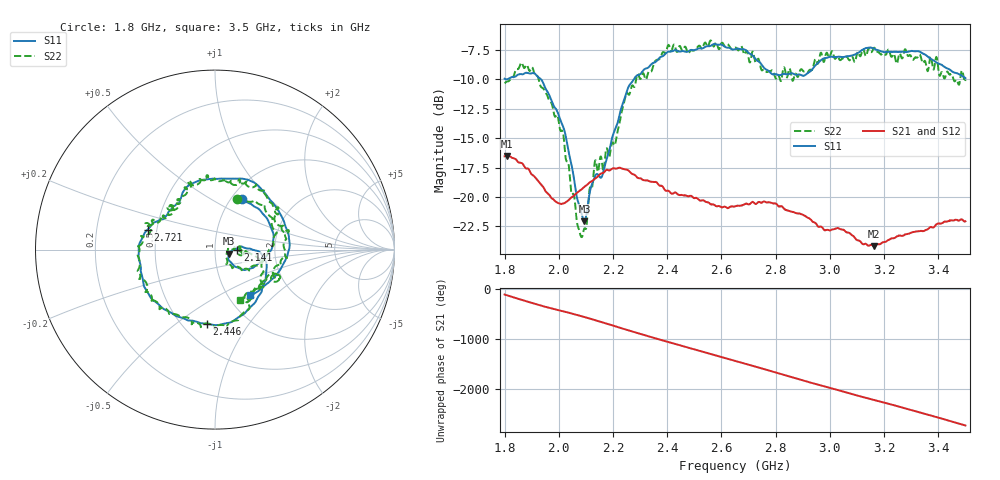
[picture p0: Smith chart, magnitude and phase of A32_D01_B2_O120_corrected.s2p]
! Created with skrf 1.9.0 (http://scikit-rf.org).
# Hz S RI R 50.0
!freq ReS11 ImS11 ReS21 ImS21 ReS12 ImS12 ReS22 ImS22
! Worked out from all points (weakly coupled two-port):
!   1601 points, 1.8 GHz to 3.5 GHz, reference 50 ohm
!   highest |S21| = -16.51 dB at 1.808 GHz (marker M1); lowest = -24.2 dB at 3.163 GHz (marker M2)
!   lowest |S11| = -22.1 dB at 2.094 GHz (marker M3), VSWR 1.17, Z = 58.1 - j2.71 ohm
!   |S11| at or under -10 dB: 1.935 GHz to 2.277 GHz (342.1 MHz wide, 16.2 % of centre)
!   |S22| runs from -23.4 to -6.7 dB; largest |S21 - S12| = 0.0029
!   S11 on the Smith chart (normalised r, x): 1.8 GHz: 1.12, +0.70; 2.141 GHz: 1.29, -0.00; 2.446 GHz: 0.65, -0.65; 2.721 GHz: 0.44, +0.12; 3.5 GHz: 1.26, -0.71
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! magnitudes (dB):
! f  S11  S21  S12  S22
! 1.8 GHz  -9.9  -16.5  -16.5  -10.3
! 1.808 GHz  -10.0  -16.5  -16.5  -10.2
! 1.881 GHz  -9.4  -17.6  -17.6  -8.8
! 1.968 GHz  -11.5  -19.9  -20.0  -11.9
! 2.013 GHz  -13.8  -20.6  -20.6  -14.4
! 2.084 GHz  -21.4  -19.4  -19.3  -23.4
! 2.094 GHz  -22.1  -19.1  -19.2  -22.7
! 2.129 GHz  -18.5  -18.5  -18.5  -17.7
! 2.141 GHz  -18.0  -18.3  -18.3  -17.6
! 2.161 GHz  -18.1  -18.0  -17.9  -17.4
! 2.208 GHz  -14.2  -17.6  -17.6  -15.5
! 2.26 GHz  -10.5  -17.8  -17.8  -11.3
! 2.367 GHz  -8.3  -18.9  -18.9  -8.3
! 2.446 GHz  -7.6  -19.8  -19.8  -7.1
! 2.65 GHz  -7.4  -20.8  -20.8  -7.3
! 2.721 GHz  -8.1  -20.5  -20.5  -8.1
! 2.814 GHz  -9.6  -20.8  -20.7  -9.8
! 2.934 GHz  -9.2  -22.0  -22.0  -9.2
! 3.163 GHz  -7.4  -24.2  -24.2  -7.3
! 3.217 GHz  -7.7  -23.7  -23.6  -7.5
! 3.329 GHz  -7.6  -22.9  -22.9  -7.9
! 3.5 GHz  -9.9  -22.1  -22.1  -10.0
